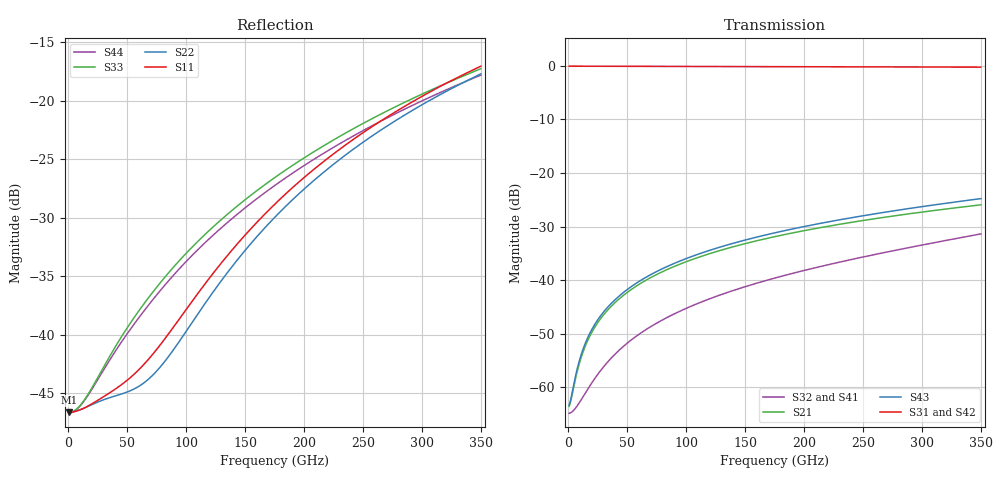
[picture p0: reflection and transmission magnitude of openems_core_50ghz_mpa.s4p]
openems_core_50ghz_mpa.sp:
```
* EQUIVALENT CIRCUIT FOR VECTOR FITTED S-MATRIX
* Created using scikit-rf vectorFitting.py
*
.SUBCKT s_equivalent p1 p2 p3 p4
*
* Port network for port 1
V1 p1 s1 0
R1 s1 0 50.0
Gd1_1 0 s1 p1 0 0.00010542112918114475
Fd1_1 0 s1 V1 0.005271056459057237
Gr1_1_1 0 s1 x1_a1 0 -1983113036.7241557
Gr2_re_1_1 0 s1 x2_re_a1 0 -160916757585.2113
Gr2_im_1_1 0 s1 x2_im_a1 0 710215662565.2926
Gr3_1_1 0 s1 x3_a1 0 1189377891910.8657
Gd1_2 0 s1 p2 0 1.4450669246404045e-05
Fd1_2 0 s1 V2 0.0007225334623202022
Gr1_1_2 0 s1 x1_a2 0 353769238.3193328
Gr2_re_1_2 0 s1 x2_re_a2 0 91328602561.18306
Gr2_im_1_2 0 s1 x2_im_a2 0 -172569906103.84756
Gr3_1_2 0 s1 x3_a2 0 -338658947013.0341
Gd1_3 0 s1 p3 0 -3.975973269650045e-05
Fd1_3 0 s1 V3 -0.001987986634825023
Gr1_1_3 0 s1 x1_a3 0 756355528.2406895
Gr2_re_1_3 0 s1 x2_re_a3 0 -448002630060.4671
Gr2_im_1_3 0 s1 x2_im_a3 0 -659171169319.9698
Gr3_1_3 0 s1 x3_a3 0 738447050604.089
Gd1_4 0 s1 p4 0 -2.882632501672087e-05
Fd1_4 0 s1 V4 -0.0014413162508360436
Gr1_1_4 0 s1 x1_a4 0 356914823.4397519
Gr2_re_1_4 0 s1 x2_re_a4 0 50039398343.871216
Gr2_im_1_4 0 s1 x2_im_a4 0 -57714892741.06178
Gr3_1_4 0 s1 x3_a4 0 -133506775595.25516
*
* State networks driven by port 1
Cx1_a1 x1_a1 0 1.0
Gx1_a1 0 x1_a1 p1 0 0.07071067811865475
Fx1_a1 0 x1_a1 V1 3.5355339059327378
Rp1_a1 0 x1_a1 3.3463666507411757e-12
Cx2_re_a1 x2_re_a1 0 1.0
Gx2_re_a1 0 x2_re_a1 p1 0 0.1414213562373095
Fx2_re_a1 0 x2_re_a1 V1 7.0710678118654755
Rp2_re_re_a1 0 x2_re_a1 3.4144750713203257e-13
Gp2_re_im_a1 0 x2_re_a1 x2_im_a1 0 4030720581535.8604
Cx2_im_a1 x2_im_a1 0 1.0
Gp2_im_re_a1 0 x2_im_a1 x2_re_a1 0 -4030720581535.8604
Rp2_im_im_a1 0 x2_im_a1 3.4144750713203257e-13
Cx3_a1 x3_a1 0 1.0
Gx3_a1 0 x3_a1 p1 0 0.07071067811865475
Fx3_a1 0 x3_a1 V1 3.5355339059327378
Rp3_a1 0 x3_a1 2.304430119158054e-13
*
* Port network for port 2
V2 p2 s2 0
R2 s2 0 50.0
Gd2_1 0 s2 p1 0 1.4339762790942053e-05
Fd2_1 0 s2 V1 0.0007169881395471027
Gr1_2_1 0 s2 x1_a1 0 388340124.1284398
Gr2_re_2_1 0 s2 x2_re_a1 0 92265689045.28351
Gr2_im_2_1 0 s2 x2_im_a1 0 -172762267773.76154
Gr3_2_1 0 s2 x3_a1 0 -340178370494.1822
Gd2_2 0 s2 p2 0 0.0001060695848168001
Fd2_2 0 s2 V2 0.005303479240840005
Gr1_2_2 0 s2 x1_a2 0 -1806873183.3515255
Gr2_re_2_2 0 s2 x2_re_a2 0 -142375509417.0207
Gr2_im_2_2 0 s2 x2_im_a2 0 667488039080.7869
Gr3_2_2 0 s2 x3_a2 0 1108672009856.179
Gd2_3 0 s2 p3 0 -2.8214270728440715e-05
Fd2_3 0 s2 V3 -0.0014107135364220358
Gr1_2_3 0 s2 x1_a3 0 331507307.45109296
Gr2_re_2_3 0 s2 x2_re_a3 0 47373512747.8214
Gr2_im_2_3 0 s2 x2_im_a3 0 -53627009800.13039
Gr3_2_3 0 s2 x3_a3 0 -124895444189.35236
Gd2_4 0 s2 p4 0 -4.368635836149216e-05
Fd2_4 0 s2 V4 -0.0021843179180746084
Gr1_2_4 0 s2 x1_a4 0 822313943.7517515
Gr2_re_2_4 0 s2 x2_re_a4 0 -445463693501.46436
Gr2_im_2_4 0 s2 x2_im_a4 0 -677213375957.9186
Gr3_2_4 0 s2 x3_a4 0 710577641505.4386
*
* State networks driven by port 2
Cx1_a2 x1_a2 0 1.0
Gx1_a2 0 x1_a2 p2 0 0.07071067811865475
Fx1_a2 0 x1_a2 V2 3.5355339059327378
Rp1_a2 0 x1_a2 3.3463666507411757e-12
Cx2_re_a2 x2_re_a2 0 1.0
Gx2_re_a2 0 x2_re_a2 p2 0 0.1414213562373095
Fx2_re_a2 0 x2_re_a2 V2 7.0710678118654755
Rp2_re_re_a2 0 x2_re_a2 3.4144750713203257e-13
Gp2_re_im_a2 0 x2_re_a2 x2_im_a2 0 4030720581535.8604
Cx2_im_a2 x2_im_a2 0 1.0
Gp2_im_re_a2 0 x2_im_a2 x2_re_a2 0 -4030720581535.8604
Rp2_im_im_a2 0 x2_im_a2 3.4144750713203257e-13
Cx3_a2 x3_a2 0 1.0
Gx3_a2 0 x3_a2 p2 0 0.07071067811865475
Fx3_a2 0 x3_a2 V2 3.5355339059327378
Rp3_a2 0 x3_a2 2.304430119158054e-13
*
* Port network for port 3
V3 p3 s3 0
R3 s3 0 50.0
Gd3_1 0 s3 p1 0 -4.7788880584380686e-05
Fd3_1 0 s3 V1 -0.0023894440292190344
Gr1_3_1 0 s3 x1_a1 0 842347728.5333605
Gr2_re_3_1 0 s3 x2_re_a1 0 -428191765002.58215
Gr2_im_3_1 0 s3 x2_im_a1 0 -670877324003.7728
Gr3_3_1 0 s3 x3_a1 0 700738558747.8079
Gd3_2 0 s3 p2 0 -2.8636373418747738e-05
Fd3_2 0 s3 V2 -0.0014318186709373869
Gr1_3_2 0 s3 x1_a2 0 331995884.33664006
Gr2_re_3_2 0 s3 x2_re_a2 0 52480346776.30649
Gr2_im_3_2 0 s3 x2_im_a2 0 -55756027669.339615
Gr3_3_2 0 s3 x3_a2 0 -133015210079.84935
Gd3_3 0 s3 p3 0 -7.580237958380624e-05
Fd3_3 0 s3 V3 -0.003790118979190312
Gr1_3_3 0 s3 x1_a3 0 811289482.4916767
Gr2_re_3_3 0 s3 x2_re_a3 0 -16579417850.584719
Gr2_im_3_3 0 s3 x2_im_a3 0 -608842239632.0466
Gr3_3_3 0 s3 x3_a3 0 -836837836148.0565
Gd3_4 0 s3 p4 0 4.11609394233937e-05
Fd3_4 0 s3 V4 0.002058046971169685
Gr1_3_4 0 s3 x1_a4 0 -1075862034.6938944
Gr2_re_3_4 0 s3 x2_re_a4 0 51082782903.952576
Gr2_im_3_4 0 s3 x2_im_a4 0 172975223578.23593
Gr3_3_4 0 s3 x3_a4 0 200190778664.85437
*
* State networks driven by port 3
Cx1_a3 x1_a3 0 1.0
Gx1_a3 0 x1_a3 p3 0 0.07071067811865475
Fx1_a3 0 x1_a3 V3 3.5355339059327378
Rp1_a3 0 x1_a3 3.3463666507411757e-12
Cx2_re_a3 x2_re_a3 0 1.0
Gx2_re_a3 0 x2_re_a3 p3 0 0.1414213562373095
Fx2_re_a3 0 x2_re_a3 V3 7.0710678118654755
Rp2_re_re_a3 0 x2_re_a3 3.4144750713203257e-13
Gp2_re_im_a3 0 x2_re_a3 x2_im_a3 0 4030720581535.8604
Cx2_im_a3 x2_im_a3 0 1.0
Gp2_im_re_a3 0 x2_im_a3 x2_re_a3 0 -4030720581535.8604
Rp2_im_im_a3 0 x2_im_a3 3.4144750713203257e-13
Cx3_a3 x3_a3 0 1.0
Gx3_a3 0 x3_a3 p3 0 0.07071067811865475
Fx3_a3 0 x3_a3 V3 3.5355339059327378
Rp3_a3 0 x3_a3 2.304430119158054e-13
*
* Port network for port 4
V4 p4 s4 0
R4 s4 0 50.0
Gd4_1 0 s4 p1 0 -2.864885460565988e-05
Fd4_1 0 s4 V1 -0.0014324427302829941
Gr1_4_1 0 s4 x1_a1 0 350620936.56268877
Gr2_re_4_1 0 s4 x2_re_a1 0 52166535907.78881
Gr2_im_4_1 0 s4 x2_im_a1 0 -57522358239.68615
Gr3_4_1 0 s4 x3_a1 0 -135314975166.4434
Gd4_2 0 s4 p2 0 -4.7047210473922794e-05
Fd4_2 0 s4 V2 -0.00235236052369614
Gr1_4_2 0 s4 x1_a2 0 853612610.2270162
Gr2_re_4_2 0 s4 x2_re_a2 0 -434924450958.2571
Gr2_im_4_2 0 s4 x2_im_a2 0 -674513156534.1821
Gr3_4_2 0 s4 x3_a2 0 703419095652.8362
Gd4_3 0 s4 p3 0 3.976792981753051e-05
Fd4_3 0 s4 V3 0.0019883964908765255
Gr1_4_3 0 s4 x1_a3 0 -1043308992.4440845
Gr2_re_4_3 0 s4 x2_re_a3 0 51698483928.5968
Gr2_im_4_3 0 s4 x2_im_a3 0 168206144446.80475
Gr3_4_3 0 s4 x3_a3 0 192657596187.4927
Gd4_4 0 s4 p4 0 -6.091577726527464e-05
Fd4_4 0 s4 V4 -0.003045788863263732
Gr1_4_4 0 s4 x1_a4 0 494367145.68948185
Gr2_re_4_4 0 s4 x2_re_a4 0 -12829012074.827972
Gr2_im_4_4 0 s4 x2_im_a4 0 -573510592382.8658
Gr3_4_4 0 s4 x3_a4 0 -788845549704.6926
*
* State networks driven by port 4
Cx1_a4 x1_a4 0 1.0
Gx1_a4 0 x1_a4 p4 0 0.07071067811865475
Fx1_a4 0 x1_a4 V4 3.5355339059327378
Rp1_a4 0 x1_a4 3.3463666507411757e-12
Cx2_re_a4 x2_re_a4 0 1.0
Gx2_re_a4 0 x2_re_a4 p4 0 0.1414213562373095
Fx2_re_a4 0 x2_re_a4 V4 7.0710678118654755
Rp2_re_re_a4 0 x2_re_a4 3.4144750713203257e-13
Gp2_re_im_a4 0 x2_re_a4 x2_im_a4 0 4030720581535.8604
Cx2_im_a4 x2_im_a4 0 1.0
Gp2_im_re_a4 0 x2_im_a4 x2_re_a4 0 -4030720581535.8604
Rp2_im_im_a4 0 x2_im_a4 3.4144750713203257e-13
Cx3_a4 x3_a4 0 1.0
Gx3_a4 0 x3_a4 p4 0 0.07071067811865475
Fx3_a4 0 x3_a4 V4 3.5355339059327378
Rp3_a4 0 x3_a4 2.304430119158054e-13
.ENDS s_equivalent
```
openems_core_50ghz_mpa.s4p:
#  Hz  S  RI  R  50
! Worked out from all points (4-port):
!   400 points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, 875 MHz to 350 GHz, reference 50 ohm
!   strongest paths, dB at 875 MHz, 88.38 GHz, 175.9 GHz, 263.4 GHz, 350 GHz:
!     S31: 0.0, -0.1, -0.1, -0.2, -0.2
!     S42: 0.0, -0.1, -0.1, -0.2, -0.2
!     S43: -63.4, -37.0, -31.1, -27.5, -24.8
!     S21: -63.6, -37.6, -31.9, -28.4, -25.9
!     S32: -64.9, -46.5, -39.6, -35.1, -31.4
!     S41: -64.9, -46.8, -39.8, -35.3, -31.5
!   lowest |S11| = -46.6 dB at 875 MHz (marker M1), VSWR 1.01, Z = 50.5 - j0.00449 ohm
!   |S11| at or under -10 dB: start of sweep to end of sweep
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8.75e8  0.00467 -4.45e-05  0.000647 0.000137  0.9949 -0.0021  -0.000572 3.21e-05
        0.000646 0.000137  0.00468 -2.28e-05  -0.000576 2.93e-05  0.9948 -0.00211
        0.9949 -0.00208  -0.000569 3.83e-05  0.00465 -3.11e-05  0.000673 0.00015
        -0.000568 3.63e-05  0.9948 -0.0021  0.000662 0.000149  0.00463 -4.67e-06
7.6125e10  -0.00034 -0.0088  0.00479 0.0104  0.9751 -0.1738  -0.000336 0.00358
           0.00479 0.0104  0.000451 -0.00709  -0.000416 0.00335  0.9751 -0.1741
           0.9756 -0.1716  -0.000217 0.00402  0.0128 -0.01  0.00158 0.0122
           -0.000244 0.00388  0.9751 -0.1729  0.00161 0.0121  0.0128 -0.00789
3.5e11  -0.1264 0.0619  0.0504 -0.00232  0.6687 -0.7049  0.0217 0.0129
        0.0504 -0.00229  -0.1162 0.0595  0.0205 0.0127  0.67 -0.7071
        0.6789 -0.6985  0.0229 0.0144  0.0555 -0.1256  0.0113 0.0573
        0.0226 0.0137  0.674 -0.7019  0.0117 0.0565  0.0553 -0.1165
